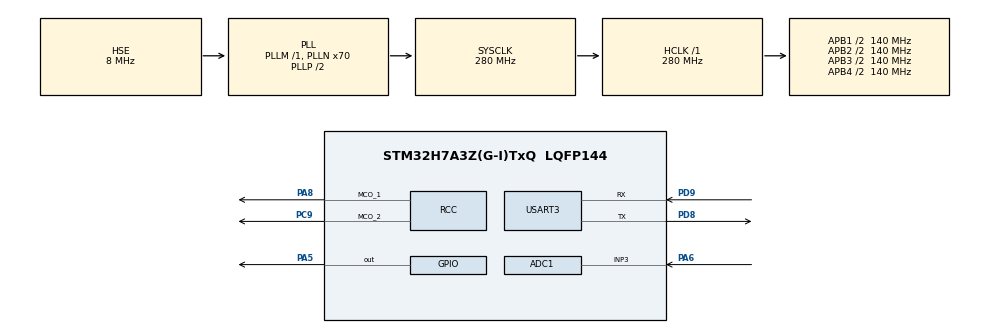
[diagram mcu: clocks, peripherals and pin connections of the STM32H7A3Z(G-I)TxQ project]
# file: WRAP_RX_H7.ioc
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ADC1.Channel-0\#ChannelRegularConversion=ADC_CHANNEL_3
ADC1.ClockPrescaler=ADC_CLOCK_ASYNC_DIV1
ADC1.ContinuousConvMode=ENABLE
ADC1.ConversionDataManagement=ADC_CONVERSIONDATA_DMA_CIRCULAR
ADC1.DMAAccessModeView=ENABLE
ADC1.Mode=ADC_DUALMODE_INTERL
ADC1.NbrOfConversionFlag=1
ADC1.OffsetNumber-0\#ChannelRegularConversion=ADC_OFFSET_NONE
ADC1.OffsetSignedSaturation-0\#ChannelRegularConversion=DISABLE
ADC1.Rank-0\#ChannelRegularConversion=1
ADC1.Resolution=ADC_RESOLUTION_16B
ADC1.SamplingTime-0\#ChannelRegularConversion=ADC_SAMPLETIME_1CYCLE_5
ADC1.TwoSamplingDelay=ADC_TWOSAMPLINGDELAY_4CYCLES
ADC1.master=1
ADC2.Channel-0\#ChannelRegularConversion=ADC_CHANNEL_3
ADC2.DMAAccessModeView=ENABLE
ADC2.Mode=ADC_DUALMODE_INTERL
ADC2.NbrOfConversionFlag=1
ADC2.OffsetNumber-0\#ChannelRegularConversion=ADC_OFFSET_NONE
ADC2.OffsetSignedSaturation-0\#ChannelRegularConversion=DISABLE
ADC2.Rank-0\#ChannelRegularConversion=1
ADC2.SamplingTime-0\#ChannelRegularConversion=ADC_SAMPLETIME_1CYCLE_5
ADC2.TwoSamplingDelay=ADC_TWOSAMPLINGDELAY_4CYCLES
CORTEX_M7.default_mode_Activation=1
Dma.ADC1.0.Direction=DMA_PERIPH_TO_MEMORY
Dma.ADC1.0.EventEnable=DISABLE
Dma.ADC1.0.FIFOMode=DMA_FIFOMODE_DISABLE
Dma.ADC1.0.Instance=DMA1_Stream0
Dma.ADC1.0.MemDataAlignment=DMA_MDATAALIGN_WORD
Dma.ADC1.0.MemInc=DMA_MINC_ENABLE
Dma.ADC1.0.Mode=DMA_CIRCULAR
Dma.ADC1.0.PeriphDataAlignment=DMA_PDATAALIGN_WORD
Dma.ADC1.0.PeriphInc=DMA_PINC_DISABLE
Dma.ADC1.0.Polarity=HAL_DMAMUX_REQ_GEN_RISING
Dma.ADC1.0.Priority=DMA_PRIORITY_HIGH
Dma.ADC1.0.RequestNumber=1
Dma.ADC1.0.SignalID=NONE
Dma.ADC1.0.SyncEnable=DISABLE
Dma.ADC1.0.SyncPolarity=HAL_DMAMUX_SYNC_NO_EVENT
Dma.ADC1.0.SyncRequestNumber=1
Dma.ADC1.0.SyncSignalID=NONE
Dma.Request0=ADC1
Mcu.Family=STM32H7
Mcu.Name=STM32H7A3Z(G-I)TxQ
Mcu.Package=LQFP144
NVIC.ADC_IRQn=true\:0\:0\:false\:false\:true\:true\:true\:true
NVIC.DMA1_Stream0_IRQn=true\:0\:0\:false\:false\:true\:false\:true\:true
NVIC.PriorityGroup=NVIC_PRIORITYGROUP_4
NVIC.USART3_IRQn=true\:0\:0\:false\:false\:true\:true\:true\:true
PA5.GPIO_Speed=GPIO_SPEED_FREQ_VERY_HIGH
PA5.Signal=GPIO_Output
PA6.Signal=ADCx_INP3
PA8.Mode=Clock-out-1
PA8.Signal=RCC_MCO_1
PC14-OSC32_IN.Mode=LSE-External-Oscillator
PC14-OSC32_IN.Signal=RCC_OSC32_IN
PC15-OSC32_OUT.Mode=LSE-External-Oscillator
PC15-OSC32_OUT.Signal=RCC_OSC32_OUT
PC9.Mode=Clock-out-2
PC9.Signal=RCC_MCO_2
PD8.Mode=Asynchronous
PD8.Signal=USART3_TX
PD9.Mode=Asynchronous
PD9.Signal=USART3_RX
PH0-OSC_IN.Mode=HSE-External-Oscillator
PH0-OSC_IN.Signal=RCC_OSC_IN
PH1-OSC_OUT.Mode=HSE-External-Oscillator
PH1-OSC_OUT.Signal=RCC_OSC_OUT
ProjectManager.HeapSize=0x200
ProjectManager.StackSize=0x400
ProjectManager.TargetToolchain=STM32CubeIDE
RCC.ADCFreq_Value=50000000
RCC.APB1Freq_Value=140000000
RCC.APB2Freq_Value=140000000
RCC.APB3Freq_Value=140000000
RCC.APB4Freq_Value=140000000
RCC.CDPPRE=RCC_APB3_DIV2
RCC.CDPPRE1=RCC_APB1_DIV2
RCC.CDPPRE2=RCC_APB2_DIV2
RCC.CortexFreq_Value=280000000
RCC.DIVM1=1
RCC.DIVM2=1
RCC.DIVM3=1
RCC.DIVN1=70
RCC.DIVN2=18
RCC.DIVN3=24
RCC.DIVP2=3
RCC.DIVQ1=4
RCC.HCLKFreq_Value=280000000
RCC.HSE_VALUE=8000000
RCC.PLL2FRACN=6144
RCC.PLLSourceVirtual=RCC_PLLSOURCE_HSE
RCC.SRDPPRE=RCC_APB4_DIV2
RCC.SYSCLKFreq_VALUE=280000000
RCC.SYSCLKSource=RCC_SYSCLKSOURCE_PLLCLK
RCC.USBFreq_Value=140000000
SH.ADCx_INP3.0=ADC1_INP3,IN3-Single-Ended
SH.ADCx_INP3.1=ADC2_INP3,IN3-Single-Ended
TIM2.Prescaler=280
USART3.VirtualMode-Asynchronous=VM_ASYNC
VP_RCC_LSE.Mode=CRS SYNC Source LSE
VP_TIM2_VS_ClockSourceINT.Mode=Internal
board=custom

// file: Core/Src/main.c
/* USER CODE BEGIN Header */
/**
  ******************************************************************************
  * @file           : main.c
  * @brief          : Main program body
  ******************************************************************************
  * @attention
  *
  * Copyright (c) 2024 STMicroelectronics.
  * All rights reserved.
  *
  * This software is licensed under terms that can be found in the LICENSE file
  * in the root directory of this software component.
  * If no LICENSE file comes with this software, it is provided AS-IS.
  *
  ******************************************************************************
  */
/* USER CODE END Header */
#include "main.h"

/* USER CODE BEGIN Includes */
#include <math.h>
#include "constants.h"
#include "receiver.h"
#include "arm_math.h"
#include <stdint.h>
#include <stdbool.h>
#include <stdio.h>
#include <string.h>
/* USER CODE END Includes */

/* USER CODE BEGIN PD */
int demodulate(const uint16_t * samples, int * symbs, params_r * params);
void costas_loop(float * norm_samples, float * samples_d, params_r * params);
uint8_t find_packet(float * symbs, uint8_t * bits, const int num_symbs);
bool extract_payload(uint8_t * packet, uint8_t * chars);

/* USER CODE END PD */

ADC_HandleTypeDef hadc1;
ADC_HandleTypeDef hadc2;
DMA_HandleTypeDef hdma_adc1;

TIM_HandleTypeDef htim2;

UART_HandleTypeDef huart3;

/* USER CODE BEGIN PV */

// sampling buffers
uint32_t adc_buf[ADC_BUF_LEN];			// adc buffer
uint16_t buffer_1[ADC_BUF_LEN];			// adc buffer
uint16_t buffer_2[ADC_BUF_LEN];			// adc buffer

float temp_symbs[2*NUM_SYMBS];				// 2x N_BUFF for slack
float symbol_buffer[SYMBOL_BUFF];			// symbol buffer
uint8_t bits[BITS];
uint8_t parity_check;

volatile uint8_t buff_flag_1 = RESET;
volatile uint8_t buff_flag_2 = RESET;
volatile uint8_t buff_process = RESET;

uint32_t start, end, demod_time, num_symbs, total_symbs, adc_start, adc_end, adc_time;
uint8_t t_str[NUM_CHARS];
float norm_samples[ADC_BUF_LEN];
float samples_d[ADC_BUF_LEN] = {0, 0, 0, 0, 0, 0};
float Quad[ADC_BUF_LEN] = {0, 0, 0, 0, 0, 0};
float filtered_samps[ADC_BUF_LEN + RRC_LEN - 1];

uint8_t packet_found;
uint8_t result;

int cur_seq = -1;
unsigned int window = 3;

/* USER CODE END PV */

void SystemClock_Config(void);
void PeriphCommonClock_Config(void);
static void MPU_Config(void);
static void MX_GPIO_Init(void);
static void MX_DMA_Init(void);
static void MX_ADC1_Init(void);
static void MX_ADC2_Init(void);
static void MX_USART3_UART_Init(void);
static void MX_TIM2_Init(void);

int main(void)
{

  /* MPU Configuration--------------------------------------------------------*/
  MPU_Config();

  /* MCU Configuration--------------------------------------------------------*/

  /* Reset of all peripherals, Initializes the Flash interface and the Systick. */
  HAL_Init();

  /* Configure the system clock */
  SystemClock_Config();

/* Configure the peripherals common clocks */
  PeriphCommonClock_Config();

  /* Initialize all configured peripherals */
  MX_GPIO_Init();
  MX_DMA_Init();
  MX_ADC1_Init();
  MX_ADC2_Init();
  MX_USART3_UART_Init();
  MX_TIM2_Init();
  /* USER CODE BEGIN 2 */

  // Start timers
  HAL_TIM_Base_Start(&htim2);

  // Starts slave ADC (ADC2); this must be started before ADC1. It won't do anything until triggered by ADC1 anyways.
  HAL_ADC_Start(&hadc2);

  // Starts master ADC (ADC1) with fancy multi DMA command. Here is where we specify which buffer the DMA should store values in and how large the buffer is
  HAL_ADCEx_MultiModeStart_DMA(&hadc1, (uint32_t*) adc_buf, ADC_BUF_LEN);

  uint16_t * samples;
  uint8_t packet_found;

  // setup params
  params_r params = {.CL_phase = 0,
  					 .CL_integrator = 0,
					 .TR_phase = 0,
					 .TR_integrator = 0,
					 .sps = SPS};

  /* USER CODE END 2 */

  /* Infinite loop */
  while (1)
  {

    /* USER CODE BEGIN 3 */

	// execute one buffer at a time. Look at SWV console to see if computation time is too long
	// alias buffer for ease
	if (buff_flag_1) {
	  samples = buffer_1;
	}
	if (buff_flag_2) {
	  samples = buffer_2;
	}

	if (buff_flag_1 || buff_flag_2) {
	  packet_found = 0;
	  // demodulate buffer
	  start = __HAL_TIM_GET_COUNTER(&htim2);
	  num_symbs = demodulate(samples, temp_symbs, &params);
	  end = __HAL_TIM_GET_COUNTER(&htim2);

	  demod_time = end - start;

	  total_symbs += num_symbs;
	  // add temp_symbs to running buffer for correlation
	  // shift latest entries
	  for (int j = 0; j < SYMBOL_BUFF-num_symbs; j++) {
		  symbol_buffer[j] = symbol_buffer[j+num_symbs];
	  }
	  for (int j = 0; j < num_symbs; j++) {
		  symbol_buffer[SYMBOL_BUFF-1-num_symbs+j] = temp_symbs[j];
	  }

	  if (total_symbs >= NUM_SYMBS) {
			packet_found = find_packet(symbol_buffer, bits, SYMBOL_BUFF);
			if (packet_found) {
				#if HAMMING_CODE_FLAG
					for (int i = 0; i < NUM_SYMBS - (NUM_PACKET_H * PACKET_HEADER_LEN); i = i+BITS_PER_CHAR) {
						result = 0;
						parity_check = 0;

						parity_check += bits[i+7] ^ bits[i+8] ^ bits[i+9] ^ bits[i+10] ^ bits[i+11];
						parity_check <<= 1;

						parity_check += bits[i+3] ^ bits[i+4] ^ bits[i+5] ^ bits[i+6] ^ bits[i+11];
						parity_check <<= 1;

						parity_check += bits[i+1] ^ bits[i+2] ^ bits[i+5] ^ bits[i+6] ^ bits[i+9] ^ bits[i+10];
						parity_check <<= 1;

						parity_check += bits[i+0] ^ bits[i+2] ^ bits[i+4] ^ bits[i+6] ^ bits[i+8] ^ bits[i+10];

						for(int j = 0; j < BITS_PER_CHAR; j++)
						{
							if(((j+1) & j) != 0){
								result <<= 1;
								if(parity_check != j+1){
									result += bits[i + j];
								}
								else{
									result += -1*bits[i + j] + 1;
								}
							}
						}

						t_str[i/BITS_PER_CHAR] = result;
					}

				#elif REPETITION_CODE_FLAG
					for (int i = 0; i < NUM_SYMBS - (NUM_PACKET_H * PACKET_HEADER_LEN); i = i+BITS_PER_CHAR) {
						result = 0;
						for(int j = 0; j < 8; j++)
						{
							uint8_t total_one_bits = 0;
							for(int k = 0; k < REPETITION_INVERSE_CODERATE; k++){
								total_one_bits += bits[i+REPETITION_INVERSE_CODERATE*j+k];
							}
							uint8_t decoded_bit = (uint8_t) (total_one_bits >= (REPETITION_INVERSE_CODERATE>>1) + 1);

							result <<= 1;
							result += decoded_bit;
						}
						t_str[i/BITS_PER_CHAR] = result;
					}
				#else
					for (int i = 0; i < NUM_SYMBS - (NUM_PACKET_H * PACKET_HEADER_LEN); i = i+8) {
						result = 0;
						for(int j = 0; j < 8; j++)
						{
							result <<= 1;
							result += bits[i + j];
						}
						t_str[i>>3] = result;
					}

				#endif
        uint8_t chars[2];
        bool ok = extract_payload(t_str, chars);
        if (ok) {
          HAL_UART_Transmit(&huart3, (uint8_t *)chars, sizeof(chars), 100);
        }
			}

			total_symbs = 0;
	  }
	  buff_process = RESET;
	  buff_flag_1 = RESET;
	  buff_flag_2 = RESET;
	}

  }
  /* USER CODE END 3 */
}

void SystemClock_Config(void)
{
  RCC_OscInitTypeDef RCC_OscInitStruct = {0};
  RCC_ClkInitTypeDef RCC_ClkInitStruct = {0};
  RCC_CRSInitTypeDef RCC_CRSInitStruct = {0};

  /*AXI clock gating */
  RCC->CKGAENR = 0xFFFFFFFF;

  /** Supply configuration update enable
  */
  HAL_PWREx_ConfigSupply(PWR_DIRECT_SMPS_SUPPLY);

  /** Configure the main internal regulator output voltage
  */
  __HAL_PWR_VOLTAGESCALING_CONFIG(PWR_REGULATOR_VOLTAGE_SCALE0);

  while(!__HAL_PWR_GET_FLAG(PWR_FLAG_VOSRDY)) {}

  /** Configure LSE Drive Capability
  */
  HAL_PWR_EnableBkUpAccess();
  __HAL_RCC_LSEDRIVE_CONFIG(RCC_LSEDRIVE_LOW);

  /** Initializes the RCC Oscillators according to the specified parameters
  * in the RCC_OscInitTypeDef structure.
  */
  RCC_OscInitStruct.OscillatorType = RCC_OSCILLATORTYPE_HSI48|RCC_OSCILLATORTYPE_HSI
                              |RCC_OSCILLATORTYPE_HSE|RCC_OSCILLATORTYPE_LSE;
  RCC_OscInitStruct.HSEState = RCC_HSE_ON;
  RCC_OscInitStruct.LSEState = RCC_LSE_ON;
  RCC_OscInitStruct.HSIState = RCC_HSI_DIV1;
  RCC_OscInitStruct.HSICalibrationValue = 64;
  RCC_OscInitStruct.HSI48State = RCC_HSI48_ON;
  RCC_OscInitStruct.PLL.PLLState = RCC_PLL_ON;
  RCC_OscInitStruct.PLL.PLLSource = RCC_PLLSOURCE_HSE;
  RCC_OscInitStruct.PLL.PLLM = 1;
  RCC_OscInitStruct.PLL.PLLN = 70;
  RCC_OscInitStruct.PLL.PLLP = 2;
  RCC_OscInitStruct.PLL.PLLQ = 4;
  RCC_OscInitStruct.PLL.PLLR = 2;
  RCC_OscInitStruct.PLL.PLLRGE = RCC_PLL1VCIRANGE_3;
  RCC_OscInitStruct.PLL.PLLVCOSEL = RCC_PLL1VCOWIDE;
  RCC_OscInitStruct.PLL.PLLFRACN = 0;
  if (HAL_RCC_OscConfig(&RCC_OscInitStruct) != HAL_OK)
  {
    Error_Handler();
  }

  /** Initializes the CPU, AHB and APB buses clocks
  */
  RCC_ClkInitStruct.ClockType = RCC_CLOCKTYPE_HCLK|RCC_CLOCKTYPE_SYSCLK
                              |RCC_CLOCKTYPE_PCLK1|RCC_CLOCKTYPE_PCLK2
                              |RCC_CLOCKTYPE_D3PCLK1|RCC_CLOCKTYPE_D1PCLK1;
  RCC_ClkInitStruct.SYSCLKSource = RCC_SYSCLKSOURCE_PLLCLK;
  RCC_ClkInitStruct.SYSCLKDivider = RCC_SYSCLK_DIV1;
  RCC_ClkInitStruct.AHBCLKDivider = RCC_HCLK_DIV1;
  RCC_ClkInitStruct.APB3CLKDivider = RCC_APB3_DIV2;
  RCC_ClkInitStruct.APB1CLKDivider = RCC_APB1_DIV2;
  RCC_ClkInitStruct.APB2CLKDivider = RCC_APB2_DIV2;
  RCC_ClkInitStruct.APB4CLKDivider = RCC_APB4_DIV2;

  if (HAL_RCC_ClockConfig(&RCC_ClkInitStruct, FLASH_LATENCY_6) != HAL_OK)
  {
    Error_Handler();
  }
  HAL_RCC_MCOConfig(RCC_MCO1, RCC_MCO1SOURCE_HSI, RCC_MCODIV_1);
  HAL_RCC_MCOConfig(RCC_MCO2, RCC_MCO2SOURCE_SYSCLK, RCC_MCODIV_1);

  /** Enable the SYSCFG APB clock
  */
  __HAL_RCC_CRS_CLK_ENABLE();

  /** Configures CRS
  */
  RCC_CRSInitStruct.Prescaler = RCC_CRS_SYNC_DIV1;
  RCC_CRSInitStruct.Source = RCC_CRS_SYNC_SOURCE_LSE;
  RCC_CRSInitStruct.Polarity = RCC_CRS_SYNC_POLARITY_RISING;
  RCC_CRSInitStruct.ReloadValue = __HAL_RCC_CRS_RELOADVALUE_CALCULATE(48000000,32768);
  RCC_CRSInitStruct.ErrorLimitValue = 34;
  RCC_CRSInitStruct.HSI48CalibrationValue = 32;

  HAL_RCCEx_CRSConfig(&RCC_CRSInitStruct);
}

void PeriphCommonClock_Config(void)
{
  RCC_PeriphCLKInitTypeDef PeriphClkInitStruct = {0};

  /** Initializes the peripherals clock
  */
  PeriphClkInitStruct.PeriphClockSelection = RCC_PERIPHCLK_ADC;
  PeriphClkInitStruct.PLL2.PLL2M = 1;
  PeriphClkInitStruct.PLL2.PLL2N = 18;
  PeriphClkInitStruct.PLL2.PLL2P = 3;
  PeriphClkInitStruct.PLL2.PLL2Q = 2;
  PeriphClkInitStruct.PLL2.PLL2R = 2;
  PeriphClkInitStruct.PLL2.PLL2RGE = RCC_PLL2VCIRANGE_3;
  PeriphClkInitStruct.PLL2.PLL2VCOSEL = RCC_PLL2VCOWIDE;
  PeriphClkInitStruct.PLL2.PLL2FRACN = 6144;
  PeriphClkInitStruct.AdcClockSelection = RCC_ADCCLKSOURCE_PLL2;
  if (HAL_RCCEx_PeriphCLKConfig(&PeriphClkInitStruct) != HAL_OK)
  {
    Error_Handler();
  }
}

static void MX_ADC1_Init(void)
{

  ADC_MultiModeTypeDef multimode = {0};
  ADC_ChannelConfTypeDef sConfig = {0};

  /** Common config
  */
  hadc1.Instance = ADC1;
  hadc1.Init.ClockPrescaler = ADC_CLOCK_ASYNC_DIV1;
  hadc1.Init.Resolution = ADC_RESOLUTION_16B;
  hadc1.Init.ScanConvMode = ADC_SCAN_DISABLE;
  hadc1.Init.EOCSelection = ADC_EOC_SINGLE_CONV;
  hadc1.Init.LowPowerAutoWait = DISABLE;
  hadc1.Init.ContinuousConvMode = ENABLE;
  hadc1.Init.NbrOfConversion = 1;
  hadc1.Init.DiscontinuousConvMode = DISABLE;
  hadc1.Init.ExternalTrigConv = ADC_SOFTWARE_START;
  hadc1.Init.ExternalTrigConvEdge = ADC_EXTERNALTRIGCONVEDGE_NONE;
  hadc1.Init.ConversionDataManagement = ADC_CONVERSIONDATA_DMA_CIRCULAR;
  hadc1.Init.Overrun = ADC_OVR_DATA_PRESERVED;
  hadc1.Init.LeftBitShift = ADC_LEFTBITSHIFT_NONE;
  hadc1.Init.OversamplingMode = DISABLE;
  if (HAL_ADC_Init(&hadc1) != HAL_OK)
  {
    Error_Handler();
  }

  /** Configure the ADC multi-mode
  */
  multimode.Mode = ADC_DUALMODE_INTERL;
  multimode.DualModeData = ADC_DUALMODEDATAFORMAT_32_10_BITS;
  multimode.TwoSamplingDelay = ADC_TWOSAMPLINGDELAY_4CYCLES;
  if (HAL_ADCEx_MultiModeConfigChannel(&hadc1, &multimode) != HAL_OK)
  {
    Error_Handler();
  }

  /** Configure Regular Channel
  */
  sConfig.Channel = ADC_CHANNEL_3;
  sConfig.Rank = ADC_REGULAR_RANK_1;
  sConfig.SamplingTime = ADC_SAMPLETIME_1CYCLE_5;
  sConfig.SingleDiff = ADC_SINGLE_ENDED;
  sConfig.OffsetNumber = ADC_OFFSET_NONE;
  sConfig.Offset = 0;
  sConfig.OffsetSignedSaturation = DISABLE;
  if (HAL_ADC_ConfigChannel(&hadc1, &sConfig) != HAL_OK)
  {
    Error_Handler();
  }

}

static void MX_ADC2_Init(void)
{

  ADC_ChannelConfTypeDef sConfig = {0};

  /** Common config
  */
  hadc2.Instance = ADC2;
  hadc2.Init.ClockPrescaler = ADC_CLOCK_ASYNC_DIV1;
  hadc2.Init.Resolution = ADC_RESOLUTION_16B;
  hadc2.Init.ScanConvMode = ADC_SCAN_DISABLE;
  hadc2.Init.EOCSelection = ADC_EOC_SINGLE_CONV;
  hadc2.Init.LowPowerAutoWait = DISABLE;
  hadc2.Init.ContinuousConvMode = ENABLE;
  hadc2.Init.NbrOfConversion = 1;
  hadc2.Init.DiscontinuousConvMode = DISABLE;
  hadc2.Init.ConversionDataManagement = ADC_CONVERSIONDATA_DR;
  hadc2.Init.Overrun = ADC_OVR_DATA_PRESERVED;
  hadc2.Init.LeftBitShift = ADC_LEFTBITSHIFT_NONE;
  hadc2.Init.OversamplingMode = DISABLE;
  if (HAL_ADC_Init(&hadc2) != HAL_OK)
  {
    Error_Handler();
  }

  /** Configure Regular Channel
  */
  sConfig.Channel = ADC_CHANNEL_3;
  sConfig.Rank = ADC_REGULAR_RANK_1;
  sConfig.SamplingTime = ADC_SAMPLETIME_1CYCLE_5;
  sConfig.SingleDiff = ADC_SINGLE_ENDED;
  sConfig.OffsetNumber = ADC_OFFSET_NONE;
  sConfig.Offset = 0;
  sConfig.OffsetSignedSaturation = DISABLE;
  if (HAL_ADC_ConfigChannel(&hadc2, &sConfig) != HAL_OK)
  {
    Error_Handler();
  }

}

static void MX_TIM2_Init(void)
{

  TIM_ClockConfigTypeDef sClockSourceConfig = {0};
  TIM_MasterConfigTypeDef sMasterConfig = {0};

  htim2.Instance = TIM2;
  htim2.Init.Prescaler = 280;
  htim2.Init.CounterMode = TIM_COUNTERMODE_UP;
  htim2.Init.Period = 4294967295;
  htim2.Init.ClockDivision = TIM_CLOCKDIVISION_DIV1;
  htim2.Init.AutoReloadPreload = TIM_AUTORELOAD_PRELOAD_DISABLE;
  if (HAL_TIM_Base_Init(&htim2) != HAL_OK)
  {
    Error_Handler();
  }
  sClockSourceConfig.ClockSource = TIM_CLOCKSOURCE_INTERNAL;
  if (HAL_TIM_ConfigClockSource(&htim2, &sClockSourceConfig) != HAL_OK)
  {
    Error_Handler();
  }
  sMasterConfig.MasterOutputTrigger = TIM_TRGO_RESET;
  sMasterConfig.MasterSlaveMode = TIM_MASTERSLAVEMODE_DISABLE;
  if (HAL_TIMEx_MasterConfigSynchronization(&htim2, &sMasterConfig) != HAL_OK)
  {
    Error_Handler();
  }

}

static void MX_USART3_UART_Init(void)
{

  huart3.Instance = USART3;
  huart3.Init.BaudRate = 115200;
  huart3.Init.WordLength = UART_WORDLENGTH_8B;
  huart3.Init.StopBits = UART_STOPBITS_1;
  huart3.Init.Parity = UART_PARITY_NONE;
  huart3.Init.Mode = UART_MODE_TX_RX;
  huart3.Init.HwFlowCtl = UART_HWCONTROL_NONE;
  huart3.Init.OverSampling = UART_OVERSAMPLING_16;
  huart3.Init.OneBitSampling = UART_ONE_BIT_SAMPLE_DISABLE;
  huart3.Init.ClockPrescaler = UART_PRESCALER_DIV1;
  huart3.AdvancedInit.AdvFeatureInit = UART_ADVFEATURE_NO_INIT;
  if (HAL_UART_Init(&huart3) != HAL_OK)
  {
    Error_Handler();
  }
  if (HAL_UARTEx_SetTxFifoThreshold(&huart3, UART_TXFIFO_THRESHOLD_1_8) != HAL_OK)
  {
    Error_Handler();
  }
  if (HAL_UARTEx_SetRxFifoThreshold(&huart3, UART_RXFIFO_THRESHOLD_1_8) != HAL_OK)
  {
    Error_Handler();
  }
  if (HAL_UARTEx_DisableFifoMode(&huart3) != HAL_OK)
  {
    Error_Handler();
  }

}

static void MX_DMA_Init(void)
{

  /* DMA controller clock enable */
  __HAL_RCC_DMA1_CLK_ENABLE();

  /* DMA interrupt init */
  /* DMA1_Stream0_IRQn interrupt configuration */
  HAL_NVIC_SetPriority(DMA1_Stream0_IRQn, 0, 0);
  HAL_NVIC_EnableIRQ(DMA1_Stream0_IRQn);

}

static void MX_GPIO_Init(void)
{
  GPIO_InitTypeDef GPIO_InitStruct = {0};

  /* GPIO Ports Clock Enable */
  __HAL_RCC_GPIOC_CLK_ENABLE();
  __HAL_RCC_GPIOH_CLK_ENABLE();
  __HAL_RCC_GPIOA_CLK_ENABLE();
  __HAL_RCC_GPIOD_CLK_ENABLE();

  /*Configure GPIO pin Output Level */
  HAL_GPIO_WritePin(GPIOA, GPIO_PIN_5, GPIO_PIN_RESET);

  /*Configure GPIO pin : PA5 */
  GPIO_InitStruct.Pin = GPIO_PIN_5;
  GPIO_InitStruct.Mode = GPIO_MODE_OUTPUT_PP;
  GPIO_InitStruct.Pull = GPIO_NOPULL;
  GPIO_InitStruct.Speed = GPIO_SPEED_FREQ_VERY_HIGH;
  HAL_GPIO_Init(GPIOA, &GPIO_InitStruct);

  /*Configure GPIO pin : PC9 */
  GPIO_InitStruct.Pin = GPIO_PIN_9;
  GPIO_InitStruct.Mode = GPIO_MODE_AF_PP;
  GPIO_InitStruct.Pull = GPIO_NOPULL;
  GPIO_InitStruct.Speed = GPIO_SPEED_FREQ_LOW;
  GPIO_InitStruct.Alternate = GPIO_AF0_MCO;
  HAL_GPIO_Init(GPIOC, &GPIO_InitStruct);

  /*Configure GPIO pin : PA8 */
  GPIO_InitStruct.Pin = GPIO_PIN_8;
  GPIO_InitStruct.Mode = GPIO_MODE_AF_PP;
  GPIO_InitStruct.Pull = GPIO_NOPULL;
  GPIO_InitStruct.Speed = GPIO_SPEED_FREQ_LOW;
  GPIO_InitStruct.Alternate = GPIO_AF0_MCO;
  HAL_GPIO_Init(GPIOA, &GPIO_InitStruct);

}

/* USER CODE BEGIN 4 */
void HAL_ADC_ConvHalfCpltCallback(ADC_HandleTypeDef* hadc) {
  // toggles buffer status pin so sampling rate can be measured
  HAL_GPIO_WritePin(GPIOA, GPIO_PIN_5, GPIO_PIN_SET);

  adc_start = __HAL_TIM_GET_COUNTER(&htim2);

  // copies ADC/DMA temp buffer into sample buffer
  if (!buff_process){
	  buff_process = SET;
	  buff_flag_1 = SET;
	  buff_flag_2 = RESET;
	  for(int j = 0; j < ADC_BUF_LEN/2; j++)
	  {
		  buffer_1[2*j] = (uint16_t)(adc_buf[j]&0x0000FFFF);
		  buffer_1[2*j+1] = (uint16_t)(adc_buf[j]>>16);
	  }
  }
}

// Called when buffer is completely filled
void HAL_ADC_ConvCpltCallback(ADC_HandleTypeDef* hadc) {
  // toggles buffer status pin so sampling rate can be measured
  HAL_GPIO_WritePin(GPIOA, GPIO_PIN_5, GPIO_PIN_RESET);

  adc_end = __HAL_TIM_GET_COUNTER(&htim2);
  adc_time = adc_end - adc_start;

  // copies ADC/DMA temp buffer into sample buffer
  if (!buff_process){
	  buff_process = SET;
	  buff_flag_2 = SET;
	  buff_flag_1 = RESET;
	  for(int j = 0; j < ADC_BUF_LEN/2; j++) {
		  buffer_2[2*j] = (uint16_t)(adc_buf[j+ADC_BUF_LEN/2]&0x0000FFFF);
		  buffer_2[2*j+1] = (uint16_t)(adc_buf[j+ADC_BUF_LEN/2]>>16);
	  }
  }
}

int demodulate(const uint16_t * samples, int * symbs, params_r * params) {

    normalize(samples, norm_samples);

//     Costas Loop
    costas_loop(norm_samples, samples_d, params);
    // filter w SRRC
    arm_conv_f32(samples_d, ADC_BUF_LEN, RRC, RRC_LEN, filtered_samps);
    // readjust window
    float shift = RRC_LEN/2. - 0.5;
    int k;
    for (int i = shift ; i < ADC_BUF_LEN+RRC_LEN-1-shift; i++) {
        k = i - shift;
        filtered_samps[k] = filtered_samps[i];
    }

    // timing recovery
    int bit_len = timing_recovery(filtered_samps, symbs, params);

    return bit_len;
}

void costas_loop(float * norm_samples, float * samples_d, params_r * params) {
    float phase = params->CL_phase;
    float inph[2*ORDER+1] = {0, 0, 0, 0, 0, 0, 0, 0, 0, 0, 0};
    float quad[2*ORDER+1] = {0, 0, 0, 0, 0, 0, 0, 0, 0, 0, 0};
    float inph_[ORDER+1] = {0, 0, 0, 0, 0, 0};
    float quad_[ORDER+1] = {0, 0, 0, 0, 0, 0};
    double error = 0;
    float integrator = 0; //params->CL_integrator;

    float kp = 8.5;
    float ki = 0.1;
    float dt = (float)FC / (float)FS;

    for (int i = ORDER; i < ADC_BUF_LEN+ORDER; i++) {
        // define t from microcontroller
        int k = i - ORDER;
        inph_[ORDER] = norm_samples[k]*2*cos(2*M_PI*dt*k + phase);
        quad_[ORDER] = norm_samples[k]*-2*sin(2*M_PI*dt*k + phase);

        arm_conv_f32(inph_, ORDER+1, lp, ORDER+1, inph);
        arm_conv_f32(quad_, ORDER+1, lp, ORDER+1, quad);

        samples_d[k] = inph[ORDER];
        Quad[k] = quad[ORDER];

        error = inph[ORDER] * quad[ORDER];
        integrator += ki*error;
        phase = phase + kp*error + integrator;

        // shift the values of inph_ and quad_
        for (int jx = 1; jx < ORDER+1; jx++) {
            inph_[jx-1] = inph_[jx];
            quad_[jx-1] = quad_[jx];
        }
    }
    params->CL_phase = remainder(phase, 2*M_PI);
    params->CL_integrator = remainder(integrator, 2*M_PI);
}

uint8_t find_packet(float * symbs, uint8_t * bits, const int num_symbs) {
    // take cross correlation
    float xcorr_out[SYMBOL_BUFF+PACKET_HEADER_LEN-1];
    packet_found = 0;
    arm_correlate_f32(packet_header, PACKET_HEADER_LEN, symbs, num_symbs, xcorr_out);

    // find packet
    int shift = 0;
    for (int i = num_symbs-(NUM_PACKET_H-1)*PACKET_HEADER_LEN - 1; i >= 0; i--) {
        if (fabs(xcorr_out[i]) > PACKET_HEADER_LEN-1) {
            shift = SYMBOL_BUFF+PACKET_HEADER_LEN-1-i;
            packet_found = 1;
            if (xcorr_out[i] < 0) {
				for (int j = 0; j < BITS; j++) {
					symbs[shift + j] = symbs[shift+ j]*-1;
				}
            }
            break;
        }
    }

    if (!packet_found)
        return 0;

    // convert symbols to bits
    for (int i = 0; i < BITS; i++) {
        bits[i] = (symbs[shift+i]+1)*0.5;
    }
    return 1;
}

void int2bin(uint8_t c, int* out) {
    for(int i = 0; i < 8; i++) {
		out[7 - i] = (int)(c & 0x01);
		c = c >> 1;
	}
}

void crc3(int* in, int* out) {
    int tmp[41];
    int crc3[4] = {1, 0, 1, 1};
    for (int i = 0; i < 41; i++) {
        if (i < 38) {
            tmp[i] = in[i];
        } else {
            tmp[i] = 0;
        }
    }
    for (int i = 0; i < 38; i++) {
        if (tmp[i] == 0) {
            continue;
        }
        for (int j = 0; j < 4; j++) {
            tmp[i + j] = tmp[i + j] ^ crc3[j];
        }
    }
    for (int i = 38; i < 41; i++) {
        out[i - 38] = tmp[i];
    }
}

bool extract_payload(uint8_t * packet, uint8_t * chars) {
    int bits[48];
    int c[8];
    for (int i = 0; i < 6; i++) {
        uint8_t tmp = packet[i];
        int2bin(tmp, c);
        for (int j = 0; j < 8; j++) {
            bits[8*i+j] = c[j];
        }
    }

    int size_and_parity[7] = {1,0,1,0,0,1,1};
    if (memcmp(size_and_parity, bits, sizeof(size_and_parity)) != 0) {
        return false;
    }

    int crc_calc[38];
    int crc_check[3];
    memcpy(crc_calc, bits + 7, sizeof(crc_calc));
    crc3(crc_calc, crc_check);
    for (int i = 0; i < 3; i++) {
        if (bits[45 + i] != crc_check[i]) {
            return false;
        }
    }

    int src_node[8] = {0,0,0,0,0,0,0,1};
    if (memcmp(src_node, bits + 7, sizeof(src_node)) != 0) {
        return false;
    }

    int dest_node[8] = {0,0,0,0,0,1,0,1};
    if (memcmp(dest_node, bits + 15, sizeof(dest_node)) != 0) {
        return false;
    }

    int new_seq = 0;
    for (int i = 23; i < 29; i++) {
        new_seq = 2 * new_seq + bits[i];
    }
    if ((new_seq == 0) && (cur_seq == -1)) {
        cur_seq = new_seq;
    } else if ((new_seq - cur_seq > 0) && (new_seq - cur_seq < window)) {
        cur_seq = new_seq;
    } else if ((new_seq + (64 - cur_seq)) > 0 && (new_seq + (64 - cur_seq)) < window) {
        cur_seq = new_seq;
    } else {
        return false;
    }

    uint8_t char1 = 0;
    for (int i = 29; i < 37; i++) {
        char1 = 2 * char1 + bits[i];
    }
    chars[0] = (char) char1;

    uint8_t char2 = 0;
    for (int i = 37; i < 45; i++) {
        char2 = 2 * char2 + bits[i];
    }
    chars[1] = (char) char2;

    return true;
}

/* USER CODE END 4 */

 /* MPU Configuration */

void MPU_Config(void)
{
  MPU_Region_InitTypeDef MPU_InitStruct = {0};

  /* Disables the MPU */
  HAL_MPU_Disable();

  /** Initializes and configures the Region and the memory to be protected
  */
  MPU_InitStruct.Enable = MPU_REGION_ENABLE;
  MPU_InitStruct.Number = MPU_REGION_NUMBER0;
  MPU_InitStruct.BaseAddress = 0x0;
  MPU_InitStruct.Size = MPU_REGION_SIZE_4GB;
  MPU_InitStruct.SubRegionDisable = 0x87;
  MPU_InitStruct.TypeExtField = MPU_TEX_LEVEL0;
  MPU_InitStruct.AccessPermission = MPU_REGION_NO_ACCESS;
  MPU_InitStruct.DisableExec = MPU_INSTRUCTION_ACCESS_DISABLE;
  MPU_InitStruct.IsShareable = MPU_ACCESS_SHAREABLE;
  MPU_InitStruct.IsCacheable = MPU_ACCESS_NOT_CACHEABLE;
  MPU_InitStruct.IsBufferable = MPU_ACCESS_NOT_BUFFERABLE;

  HAL_MPU_ConfigRegion(&MPU_InitStruct);
  /* Enables the MPU */
  HAL_MPU_Enable(MPU_PRIVILEGED_DEFAULT);

}

void Error_Handler(void)
{
  __disable_irq();
  while (1)
  {
  }
}
